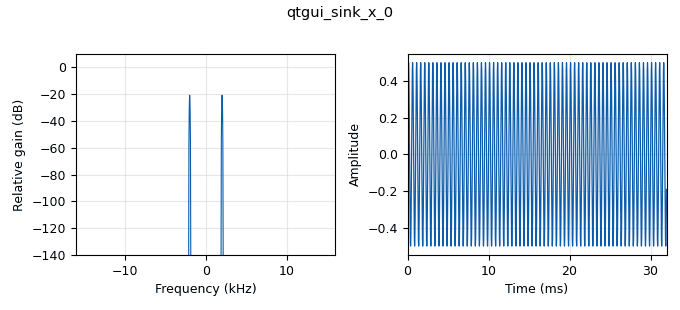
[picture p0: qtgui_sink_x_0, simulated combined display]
options:
  parameters:
    generate_options: qt_gui
    id: top_block
    output_language: python
  states: {}

blocks:
- name: const
  id: variable_qtgui_range
  parameters:
    start: '-10'
    step: '1'
    stop: '10'
    value: '0'
  states: {}
- name: f0
  id: variable_qtgui_range
  parameters:
    gui_hint: (1,0,1,1)
    start: '-2000'
    step: '1'
    stop: '2000'
    value: '1000'
  states: {}
- name: offset
  id: variable_qtgui_range
  parameters:
    gui_hint: (0, 0, 1, 1)
    start: '-1'
    step: '.01'
    stop: '1'
    value: '0'
  states: {}
- name: samp_rate
  id: variable
  parameters:
    value: '32000'
  states: {}
- name: waveform
  id: variable_qtgui_chooser
  parameters:
    gui_hint: (0, 1, 2, 1)
    label: Waveform Select
    label0: Cosine
    label1: Square
    label2: Triangle
    label3: Sawtooth
    num_opts: '4'
    option0: '102'
    option1: '103'
    option2: '104'
    option3: '105'
    type: int
    value: '102'
    widget: radio_buttons
  states: {}
- name: analog_sig_source_x_0
  id: analog_sig_source_x
  parameters:
    amp: '1'
    freq: f0
    offset: offset
    phase: '0'
    samp_rate: samp_rate
    type: float
    waveform: waveform
  states: {}
- name: analog_sig_source_x_1
  id: analog_sig_source_x
  parameters:
    amp: '1'
    freq: '1000'
    offset: '0'
    phase: '0'
    samp_rate: samp_rate
    type: float
    waveform: analog.GR_SIN_WAVE
  states: {}
- name: blocks_abs_xx_0
  id: blocks_abs_xx
  parameters:
    type: float
  states: {state: disabled}
- name: blocks_add_const_vxx_0
  id: blocks_add_const_vxx
  parameters:
    const: const
    type: float
  states: {state: disabled}
- name: blocks_add_xx_0
  id: blocks_add_xx
  parameters:
    type: float
  states: {state: disabled}
- name: blocks_divide_xx_0
  id: blocks_divide_xx
  parameters:
    type: float
  states: {state: disabled}
- name: blocks_integrate_xx_0
  id: blocks_integrate_xx
  parameters:
    decim: const
    type: float
  states: {state: disabled}
- name: blocks_max_xx_0
  id: blocks_max_xx
  parameters:
    type: float
  states: {state: disabled}
- name: blocks_min_xx_0
  id: blocks_min_xx
  parameters:
    type: float
  states: {state: disabled}
- name: blocks_multiply_const_xx_0
  id: blocks_multiply_const_xx
  parameters:
    const: const
    type: float
  states: {state: disabled}
- name: blocks_multiply_matrix_xx_1
  id: blocks_multiply_matrix_xx
  parameters:
    tag_propagation_policy: gr.TPP_ALL_TO_ALL
    type: float
  states: {state: disabled}
- name: blocks_multiply_xx_0
  id: blocks_multiply_xx
  parameters:
    type: float
  states: {}
- name: blocks_nlog10_ff_0
  id: blocks_nlog10_ff
  parameters:
    k: '0'
  states: {state: disabled}
- name: blocks_throttle_0
  id: blocks_throttle
  parameters:
    samples_per_second: samp_rate
    type: float
  states: {}
- name: qtgui_sink_x_0
  id: qtgui_sink_x
  parameters:
    bw: samp_rate
    fc: '0'
    fftsize: '1024'
    type: float
  states: {}
- name: qtgui_sink_x_1
  id: qtgui_sink_x
  parameters:
    bw: samp_rate
    fc: '0'
    fftsize: '1024'
    type: float
  states: {state: disabled}

connections:
- [analog_sig_source_x_0, '0', blocks_throttle_0, '0']
- [analog_sig_source_x_1, '0', blocks_add_xx_0, '1']
- [analog_sig_source_x_1, '0', blocks_divide_xx_0, '1']
- [analog_sig_source_x_1, '0', blocks_multiply_matrix_xx_1, '1']
- [analog_sig_source_x_1, '0', blocks_multiply_xx_0, '1']
- [blocks_abs_xx_0, '0', qtgui_sink_x_0, '0']
- [blocks_add_const_vxx_0, '0', qtgui_sink_x_0, '0']
- [blocks_add_xx_0, '0', qtgui_sink_x_0, '0']
- [blocks_divide_xx_0, '0', qtgui_sink_x_0, '0']
- [blocks_integrate_xx_0, '0', qtgui_sink_x_0, '0']
- [blocks_max_xx_0, '0', qtgui_sink_x_0, '0']
- [blocks_min_xx_0, '0', qtgui_sink_x_0, '0']
- [blocks_multiply_const_xx_0, '0', qtgui_sink_x_0, '0']
- [blocks_multiply_matrix_xx_1, '0', qtgui_sink_x_0, '0']
- [blocks_multiply_matrix_xx_1, '1', qtgui_sink_x_1, '0']
- [blocks_multiply_xx_0, '0', qtgui_sink_x_0, '0']
- [blocks_nlog10_ff_0, '0', qtgui_sink_x_0, '0']
- [blocks_throttle_0, '0', blocks_abs_xx_0, '0']
- [blocks_throttle_0, '0', blocks_add_const_vxx_0, '0']
- [blocks_throttle_0, '0', blocks_add_xx_0, '0']
- [blocks_throttle_0, '0', blocks_divide_xx_0, '0']
- [blocks_throttle_0, '0', blocks_integrate_xx_0, '0']
- [blocks_throttle_0, '0', blocks_max_xx_0, '0']
- [blocks_throttle_0, '0', blocks_min_xx_0, '0']
- [blocks_throttle_0, '0', blocks_multiply_const_xx_0, '0']
- [blocks_throttle_0, '0', blocks_multiply_matrix_xx_1, '0']
- [blocks_throttle_0, '0', blocks_multiply_xx_0, '0']
- [blocks_throttle_0, '0', blocks_nlog10_ff_0, '0']

metadata:
  file_format: 1
